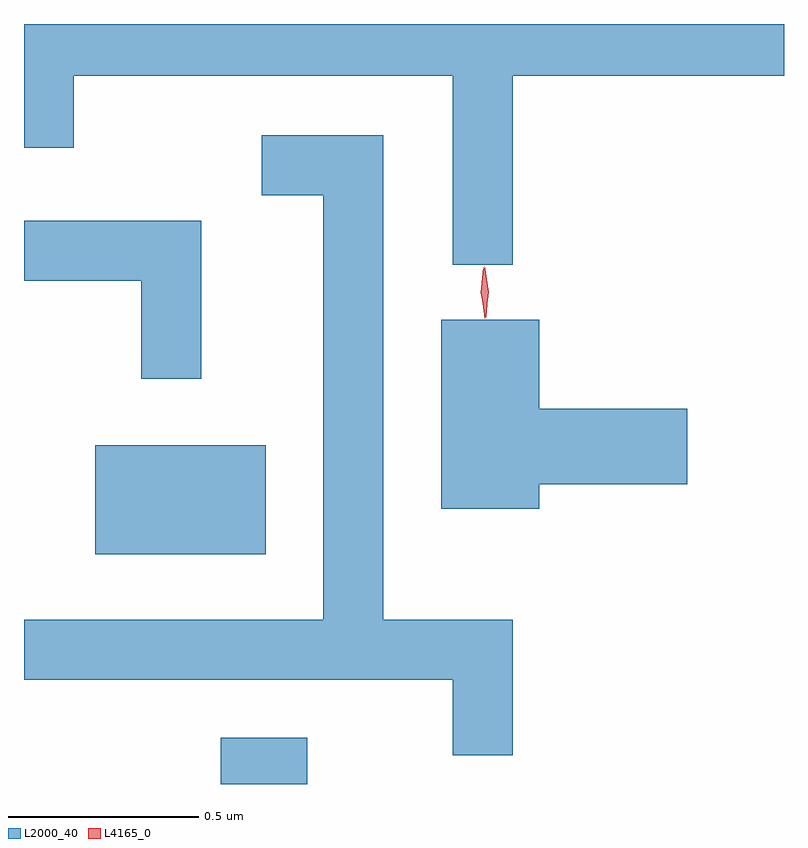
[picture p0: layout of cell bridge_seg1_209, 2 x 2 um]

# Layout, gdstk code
import gdstk
lib = gdstk.Library(unit=1e-6, precision=1e-09)
def R(c, l, rs):  # rectangles x0, y0, x1, y1
    for r in rs: c.add(gdstk.rectangle(r[:2], r[2:], *l))
def P(c, l, *ps):  # polygons
    for p in ps: c.add(gdstk.Polygon(p, *l))
L2000_40 = (2000, 40)
L4165_0 = (4165, 0)

bridge_seg1_209 = lib.new_cell('bridge_seg1_209')
R(bridge_seg1_209, L2000_40, [(811.106,917.692,811.334,917.814), (810.776,918.296,811.224,918.584)])
P(bridge_seg1_209, L2000_40, [(811.874,919.556),(812.588,919.556),(812.588,919.692),(810.588,919.692),(810.588,919.366),(810.719,919.366),(810.719,919.556),(811.716,919.556),(811.716,919.058),(811.874,919.058)],
  [(811.874,918.124),(811.534,918.124),(811.534,919.399),(811.213,919.399),(811.213,919.241),(811.376,919.241),(811.376,918.124),(810.588,918.124),(810.588,917.966),(811.716,917.966),(811.716,917.768),(811.874,917.768)],
  [(811.054,919.174),(810.588,919.174),(810.588,919.016),(810.896,919.016),(810.896,918.758),(811.054,918.758)],
  [(811.944,918.481),(812.334,918.481),(812.334,918.679),(811.944,918.679),(811.944,918.914),(811.686,918.914),(811.686,918.416),(811.944,918.416)])
P(bridge_seg1_209, L4165_0, [(811.804,918.92),(811.803,918.921),(811.79,918.985),(811.796,919.051),(811.796,919.052),(811.796,919.051),(811.81,918.987),(811.804,918.921)],
  [(811.801,918.918),(811.801,918.918),(811.791,918.986),(811.8,919.055),(811.801,919.055),(811.801,919.055),(811.811,918.986),(811.802,918.918)])

lib.write_gds('bridge_seg1_209.gds')
